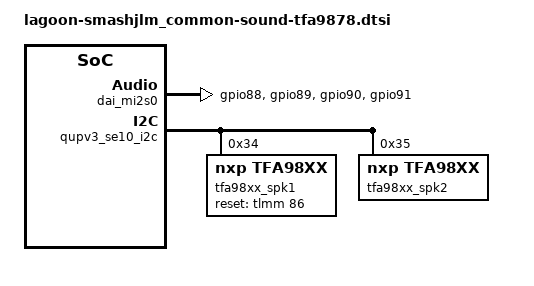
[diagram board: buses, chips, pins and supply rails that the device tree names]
/* SPDX-License-Identifier: GPL-2.0-only */
/*
 * Copyright (c) 2018-2019, The Linux Foundation. All rights reserved.
 */

/*
 * Copyright (c) 2018, The Linux Foundation. All rights reserved.
 *
 * This program is free software; you can redistribute it and/or modify
 * it under the terms of the GNU General Public License version 2 and
 * only version 2 as published by the Free Software Foundation.
 *
 * This program is distributed in the hope that it will be useful,
 * but WITHOUT ANY WARRANTY; without even the implied warranty of
 * MERCHANTABILITY or FITNESS FOR A PARTICULAR PURPOSE.  See the
 * GNU General Public License for more details.
 */
&tlmm {
	mi2s_0_sck_active: mi2s_0_sck_active {
		mux {
			pins = "gpio88";
			function = "mi2s_0";
		};

		config {
			pins = "gpio88";
			drive-strength = <8>;   /* 8 mA */
			bias-disable;
		};
	};

	mi2s_0_sck_sleep: mi2s_0_sck_sleep {
		mux {
			pins = "gpio88";
			function = "mi2s_0";
		};

		config {
			pins = "gpio88";
			drive-strength = <2>;   /* 2 mA */
			bias-pull-down;
			input-enable;
		};
	};

	mi2s_0_ws_active: mi2s_0_ws_active {
		mux {
			pins = "gpio89";
			function = "mi2s_0";
		};

		config {
			pins = "gpio89";
			drive-strength = <8>;   /* 8 mA */
			bias-disable;
		};
	};

	mi2s_0_ws_sleep: mi2s_0_ws_sleep {
		mux {
			pins = "gpio89";
			function = "mi2s_0";
		};

		config {
			pins = "gpio89";
			drive-strength = <2>;   /* 2 mA */
			bias-pull-down;
			input-enable;
		};
	};

	mi2s_0_data0_active: mi2s_0_data0_active {
		mux {
			pins = "gpio90";
			function = "mi2s_0";
		};

		config {
			pins = "gpio90";
			drive-strength = <8>;   /* 8 mA */
			bias-disable;
		};
	};

	mi2s_0_data0_sleep: mi2s_0_data0_sleep {
		mux {
			pins = "gpio90";
			function = "mi2s_0";
		};

		config {
			pins = "gpio90";
			drive-strength = <2>;   /* 2 mA */
			bias-pull-down;
			input-enable;
		};
	};

	mi2s_0_data1_active: mi2s_0_data1_active {
		mux {
			pins = "gpio91";
			function = "mi2s_0";
		};

		config {
			pins = "gpio91";
			drive-strength = <8>;   /* 8 mA */
			bias-disable;
		};
	};

	mi2s_0_data1_sleep: mi2s_0_data1_sleep {
		mux {
			pins = "gpio91";
			function = "mi2s_0";
		};

		config {
			pins = "gpio91";
			drive-strength = <2>;   /* 2 mA */
			bias-pull-down;
			input-enable;
		};
	};
};

&dai_mi2s0 {
	qcom,msm-mi2s-rx-lines = <2>; /* SD1 used as output */
	qcom,msm-mi2s-tx-lines = <1>; /* SD0 used as input */
	pinctrl-names = "default", "sleep";
	pinctrl-0 = <&mi2s_0_sck_active &mi2s_0_ws_active
			&mi2s_0_data0_active &mi2s_0_data1_active>;
	pinctrl-1 = <&mi2s_0_sck_sleep &mi2s_0_ws_sleep
			&mi2s_0_data0_sleep &mi2s_0_data1_sleep>;
};

&qupv3_se10_i2c { /* QUPV3 SE10  */
	status = "ok";
	tfa98xx_spk1: tfa98xx@34 { /* RCV */
		compatible = "nxp,tfa98xx";
		status = "ok";
		reg = <0x34>;
		reset-gpio = <&tlmm 86 0x0>;
		reset-polarity = <0>;

		nxp,firmware-name = "Tfa98xx.cnt";
	};
	tfa98xx_spk2: tfa98xx@35 { /* SPK */
		compatible = "nxp,tfa98xx";
		status = "ok";
		reg = <0x35>;
		nxp,firmware-name = "Tfa98xx.cnt";
	};
};
